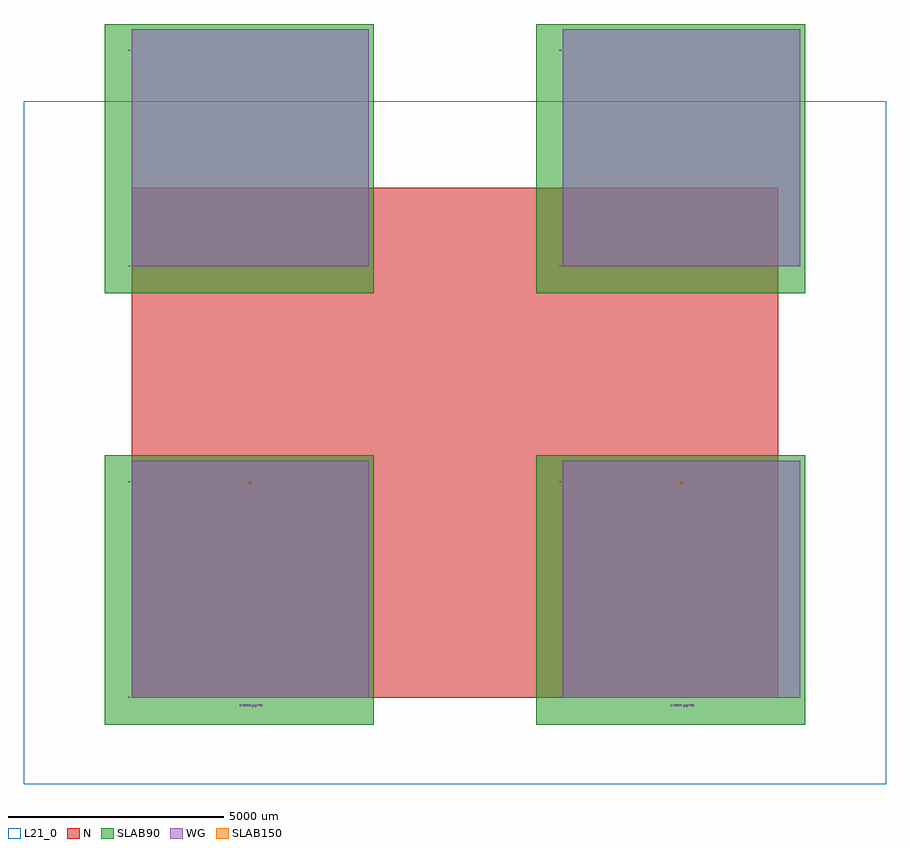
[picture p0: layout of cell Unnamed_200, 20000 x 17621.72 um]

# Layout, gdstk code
import gdstk
lib = gdstk.Library(unit=1e-6, precision=1e-09)
def R(c, l, rs):  # rectangles x0, y0, x1, y1
    for r in rs: c.add(gdstk.rectangle(r[:2], r[2:], *l))
def A(c, l, x, y, w, h, nx, ny, dx, dy):  # array of equal rectangles
    R(c, l, [(x+i*dx, y+j*dy, x+i*dx+w, y+j*dy+h) for i in range(nx) for j in range(ny)])
def P(c, l, *ps):  # polygons
    for p in ps: c.add(gdstk.Polygon(p, *l))
WG = (1, 0)
SLAB150 = (2, 0)
SLAB90 = (3, 0)
N = (20, 0)
L21_0 = (21, 0)

rectangle_s15000_11830__ = lib.new_cell('rectangle_S15000_11830__c3eba85a')
R(rectangle_s15000_11830__, N, [(0,0,15000,11830)])

rectangle_s20000_15830__ = lib.new_cell('rectangle_S20000_15830__41eada1f')
R(rectangle_s20000_15830__, L21_0, [(0,0,20000,15830)])

text_tms4_s20_p0_0_jleft = lib.new_cell('text_TMS4_S20_P0_0_Jleft_L1_0')
P(text_tms4_s20_p0_0_jleft, WG, [(22,0),(20,2),(20,4),(32,4),(32,8),(22,8),(20,10),(20,18),(22,20),(34,20),(36,18),(36,16),(24,16),(24,12),(34,12),(36,10),(36,2),(34,0)],
  [(46,0),(46,6),(38,6),(38,20),(42,20),(42,10),(46,10),(46,20),(50,20),(50,10),(52,10),(52,6),(50,6),(50,0)],
  [(2,0),(2,20),(6,20),(10,14),(14,20),(18,20),(18,0),(14,0),(14,12),(10,6),(6,12),(6,0)])

unnamed_210 = lib.new_cell('Unnamed_210')
unnamed_210.add(gdstk.Reference(text_tms4_s20_p0_0_jleft, (-80,0)))
unnamed_210.add(gdstk.Reference(text_tms4_s20_p0_0_jleft, (5020,0)))
unnamed_210.add(gdstk.Reference(text_tms4_s20_p0_0_jleft, (-80,5000)))
unnamed_210.add(gdstk.Reference(text_tms4_s20_p0_0_jleft, (5020,5000)))

text_tms3_s20_p0_0_jleft = lib.new_cell('text_TMS3_S20_P0_0_Jleft_L1_0')
P(text_tms3_s20_p0_0_jleft, WG, [(22,0),(20,2),(20,4),(32,4),(32,8),(22,8),(20,10),(20,18),(22,20),(34,20),(36,18),(36,16),(24,16),(24,12),(34,12),(36,10),(36,2),(34,0)],
  [(42,0),(38,4),(38,6),(42,6),(44,4),(46,4),(48,6),(46,8),(46,12),(48,14),(46,16),(44,16),(42,14),(38,14),(38,16),(42,20),(48,20),(52,16),(52,12),(50,10),(52,8),(52,4),(48,0)],
  [(2,0),(2,20),(6,20),(10,14),(14,20),(18,20),(18,0),(14,0),(14,12),(10,6),(6,12),(6,0)])

unnamed_209 = lib.new_cell('Unnamed_209')
unnamed_209.add(gdstk.Reference(text_tms3_s20_p0_0_jleft, (-80,0)))
unnamed_209.add(gdstk.Reference(text_tms3_s20_p0_0_jleft, (5020,0)))
unnamed_209.add(gdstk.Reference(text_tms3_s20_p0_0_jleft, (-80,5000)))
unnamed_209.add(gdstk.Reference(text_tms3_s20_p0_0_jleft, (5020,5000)))

text_tms2_s20_p0_0_jleft = lib.new_cell('text_TMS2_S20_P0_0_Jleft_L1_0')
P(text_tms2_s20_p0_0_jleft, WG, [(38,0),(38,4),(48,14),(48,16),(42,16),(42,14),(38,14),(38,18),(40,20),(50,20),(52,18),(52,12),(44,4),(52,4),(52,0)],
  [(22,0),(20,2),(20,4),(32,4),(32,8),(22,8),(20,10),(20,18),(22,20),(34,20),(36,18),(36,16),(24,16),(24,12),(34,12),(36,10),(36,2),(34,0)],
  [(2,0),(2,20),(6,20),(10,14),(14,20),(18,20),(18,0),(14,0),(14,12),(10,6),(6,12),(6,0)])

unnamed_208 = lib.new_cell('Unnamed_208')
unnamed_208.add(gdstk.Reference(text_tms2_s20_p0_0_jleft, (-80,0)))
unnamed_208.add(gdstk.Reference(text_tms2_s20_p0_0_jleft, (5020,0)))
unnamed_208.add(gdstk.Reference(text_tms2_s20_p0_0_jleft, (-80,5000)))
unnamed_208.add(gdstk.Reference(text_tms2_s20_p0_0_jleft, (5020,5000)))

text_tms1_s20_p0_0_jleft = lib.new_cell('text_TMS1_S20_P0_0_Jleft_L1_0')
P(text_tms1_s20_p0_0_jleft, WG, [(38,0),(38,4),(40,4),(40,12),(38,12),(38,16),(42,20),(44,20),(44,4),(46,4),(46,0)],
  [(22,0),(20,2),(20,4),(32,4),(32,8),(22,8),(20,10),(20,18),(22,20),(34,20),(36,18),(36,16),(24,16),(24,12),(34,12),(36,10),(36,2),(34,0)],
  [(2,0),(2,20),(6,20),(10,14),(14,20),(18,20),(18,0),(14,0),(14,12),(10,6),(6,12),(6,0)])

unnamed_207 = lib.new_cell('Unnamed_207')
unnamed_207.add(gdstk.Reference(text_tms1_s20_p0_0_jleft, (-80,0)))
unnamed_207.add(gdstk.Reference(text_tms1_s20_p0_0_jleft, (5020,0)))
unnamed_207.add(gdstk.Reference(text_tms1_s20_p0_0_jleft, (-80,5000)))
unnamed_207.add(gdstk.Reference(text_tms1_s20_p0_0_jleft, (5020,5000)))

unnamed_206 = lib.new_cell('Unnamed_206')
unnamed_206.add(gdstk.Reference(unnamed_210, (10000,10000)))
unnamed_206.add(gdstk.Reference(unnamed_209, (0,10000)))
unnamed_206.add(gdstk.Reference(unnamed_208, (10000,0)))
unnamed_206.add(gdstk.Reference(unnamed_207, (0,0)))

unnamed_216 = lib.new_cell('Unnamed_216')
R(unnamed_216, WG, [(2545,-190,2585,-180), (2910,-190,2950,-180), (12545,-190,12585,-180), (12910,-190,12950,-180), (2545,-170,2585,-160), (2910,-170,2950,-160), (12545,-170,12585,-160), (12910,-170,12950,-160)])
P(unnamed_216, WG, [(3000,-200),(2995,-195),(2995,-180),(3000,-175),(2995,-170),(2995,-155),(3000,-150),(3010,-150),(3010,-160),(3005,-160),(3005,-170),(3020,-170),(3020,-160),(3015,-160),(3015,-150),(3025,-150),(3030,-155),(3030,-170),(3025,-175),(3030,-180),(3030,-195),(3025,-200),(3015,-200),(3015,-190),(3020,-190),(3020,-180),(3005,-180),(3005,-190),(3010,-190),(3010,-200)],
  [(13000,-200),(12995,-195),(12995,-180),(13000,-175),(12995,-170),(12995,-155),(13000,-150),(13010,-150),(13010,-160),(13005,-160),(13005,-170),(13020,-170),(13020,-160),(13015,-160),(13015,-150),(13025,-150),(13030,-155),(13030,-170),(13025,-175),(13030,-180),(13030,-195),(13025,-200),(13015,-200),(13015,-190),(13020,-190),(13020,-180),(13005,-180),(13005,-190),(13010,-190),(13010,-200)],
  [(2975,-200),(2975,-185),(2955,-185),(2955,-150),(2965,-150),(2965,-175),(2975,-175),(2975,-150),(2985,-150),(2985,-175),(2990,-175),(2990,-185),(2985,-185),(2985,-200)],
  [(12975,-200),(12975,-185),(12955,-185),(12955,-150),(12965,-150),(12965,-175),(12975,-175),(12975,-150),(12985,-150),(12985,-175),(12990,-175),(12990,-185),(12985,-185),(12985,-200)],
  [(2595,-200),(2590,-195),(2590,-185),(2600,-185),(2600,-190),(2615,-190),(2615,-180),(2595,-180),(2590,-175),(2590,-150),(2625,-150),(2625,-160),(2600,-160),(2600,-170),(2620,-170),(2625,-175),(2625,-195),(2620,-200)],
  [(12595,-200),(12590,-195),(12590,-185),(12600,-185),(12600,-190),(12615,-190),(12615,-180),(12595,-180),(12590,-175),(12590,-150),(12625,-150),(12625,-160),(12600,-160),(12600,-170),(12620,-170),(12625,-175),(12625,-195),(12620,-200)],
  [(2505,-200),(2505,-150),(2515,-150),(2515,-190),(2540,-190),(2540,-200)],
  [(12505,-200),(12505,-150),(12515,-150),(12515,-190),(12540,-190),(12540,-200)],
  [(2800,-215),(2790,-205),(2815,-205),(2815,-200),(2801.7,-200),(2790,-190),(2790,-175),(2800,-165),(2825,-165),(2825,-180),(2815,-180),(2815,-175),(2805,-175),(2800,-180),(2800,-185),(2805,-190),(2815,-190),(2815,-185),(2825,-185),(2825,-210),(2820,-215)],
  [(12800,-215),(12790,-205),(12815,-205),(12815,-200),(12801.7,-200),(12790,-190),(12790,-175),(12800,-165),(12825,-165),(12825,-180),(12815,-180),(12815,-175),(12805,-175),(12800,-180),(12800,-185),(12805,-190),(12815,-190),(12815,-185),(12825,-185),(12825,-210),(12820,-215)],
  [(2840,-200),(2830,-190),(2830,-175),(2841.7,-165),(2855,-165),(2855,-161.25),(2865,-161.25),(2865,-180),(2855,-180),(2855,-175),(2845,-175),(2840,-180),(2840,-185),(2845,-190),(2855,-190),(2855,-185),(2865,-185),(2865,-200)],
  [(12840,-200),(12830,-190),(12830,-175),(12841.7,-165),(12855,-165),(12855,-161.25),(12865,-161.25),(12865,-180),(12855,-180),(12855,-175),(12845,-175),(12840,-180),(12840,-185),(12845,-190),(12855,-190),(12855,-185),(12865,-185),(12865,-200)],
  [(2648.5,-200),(2651,-190),(2655,-190),(2660,-185),(2660,-165),(2655,-160),(2657.5,-150),(2660,-150),(2670,-160),(2670,-190),(2660,-200)],
  [(2693.5,-200),(2696,-190),(2700,-190),(2705,-185),(2705,-165),(2700,-160),(2702.5,-150),(2705,-150),(2715,-160),(2715,-190),(2705,-200)],
  [(2738.5,-200),(2741,-190),(2745,-190),(2750,-185),(2750,-165),(2745,-160),(2747.5,-150),(2750,-150),(2760,-160),(2760,-190),(2750,-200)],
  [(12648.5,-200),(12651,-190),(12655,-190),(12660,-185),(12660,-165),(12655,-160),(12657.5,-150),(12660,-150),(12670,-160),(12670,-190),(12660,-200)],
  [(12693.5,-200),(12696,-190),(12700,-190),(12705,-185),(12705,-165),(12700,-160),(12702.5,-150),(12705,-150),(12715,-160),(12715,-190),(12705,-200)],
  [(12738.5,-200),(12741,-190),(12745,-190),(12750,-185),(12750,-165),(12745,-160),(12747.5,-150),(12750,-150),(12760,-160),(12760,-190),(12750,-200)],
  [(2640,-200),(2630,-190),(2630,-160),(2640,-150),(2651.5,-150),(2649,-160),(2645,-160),(2640,-165),(2640,-185),(2645,-190),(2642.5,-200)],
  [(2685,-200),(2675,-190),(2675,-160),(2685,-150),(2696.5,-150),(2694,-160),(2690,-160),(2685,-165),(2685,-185),(2690,-190),(2687.5,-200)],
  [(2730,-200),(2720,-190),(2720,-160),(2730,-150),(2741.5,-150),(2739,-160),(2735,-160),(2730,-165),(2730,-185),(2735,-190),(2732.5,-200)],
  [(12640,-200),(12630,-190),(12630,-160),(12640,-150),(12651.5,-150),(12649,-160),(12645,-160),(12640,-165),(12640,-185),(12645,-190),(12642.5,-200)],
  [(12685,-200),(12675,-190),(12675,-160),(12685,-150),(12696.5,-150),(12694,-160),(12690,-160),(12685,-165),(12685,-185),(12690,-190),(12687.5,-200)],
  [(12730,-200),(12720,-190),(12720,-160),(12730,-150),(12741.5,-150),(12739,-160),(12735,-160),(12730,-165),(12730,-185),(12735,-190),(12732.5,-200)],
  [(2870,-215),(2870,-185),(2880,-185),(2880,-190),(2890,-190),(2895,-185),(2895,-180),(2890,-175),(2880,-175),(2880,-180),(2870,-180),(2870,-165),(2895,-165),(2905,-175),(2905,-190),(2895,-200),(2880,-200),(2880,-215)],
  [(12870,-215),(12870,-185),(12880,-185),(12880,-190),(12890,-190),(12895,-185),(12895,-180),(12890,-175),(12880,-175),(12880,-180),(12870,-180),(12870,-165),(12895,-165),(12905,-175),(12905,-190),(12895,-200),(12880,-200),(12880,-215)])

unnamed_215 = lib.new_cell('Unnamed_215')
R(unnamed_215, SLAB150, [(2727,4951,2771,4997), (12727,4951,12771,4997)])

unnamed_214 = lib.new_cell('Unnamed_214')
A(unnamed_214, WG, 250, 0, 48, 48, 100, 99, 50, 50)
A(unnamed_214, WG, 10250, 0, 48, 48, 100, 99, 50, 50)
A(unnamed_214, WG, 250, 4950, 48, 48, 49, 1, 50, 0)
A(unnamed_214, WG, 2800, 4950, 48, 48, 49, 1, 50, 0)
A(unnamed_214, WG, 10250, 4950, 48, 48, 49, 1, 50, 0)
A(unnamed_214, WG, 12800, 4950, 48, 48, 49, 1, 50, 0)
R(unnamed_214, WG, [(2700,4950,2724,4998), (2774,4950,2798,4998), (12700,4950,12724,4998), (12774,4950,12798,4998)])

rectangle_s6243p44_6243_ = lib.new_cell('rectangle_S6243p44_6243_829ce156')
R(rectangle_s6243p44_6243_, SLAB90, [(0,0,6243.44,6243.44)])

unnamed_204 = lib.new_cell('Unnamed_204')
unnamed_204.add(gdstk.Reference(rectangle_s6243p44_6243_, (-621.72,-621.72)))
unnamed_204.add(gdstk.Reference(rectangle_s6243p44_6243_, (9378.28,-621.72)))
unnamed_204.add(gdstk.Reference(rectangle_s6243p44_6243_, (-621.72,9378.28)))
unnamed_204.add(gdstk.Reference(rectangle_s6243p44_6243_, (9378.28,9378.28)))

unnamed_213 = lib.new_cell('Unnamed_213')
R(unnamed_213, WG, [(0,10000,5500,15500), (10000,10000,15500,15500)])
P(unnamed_213, WG, [(0,0),(0,5500),(5500,5500),(5500,0),(5250,0),(5250,5000),(248,5000),(248,0)],
  [(10000,0),(10000,5500),(15500,5500),(15500,0),(15250,0),(15250,5000),(10248,5000),(10248,0)])

unnamed_200 = lib.new_cell('Unnamed_200')
unnamed_200.add(gdstk.Reference(rectangle_s15000_11830__, (0,0)))
unnamed_200.add(gdstk.Reference(rectangle_s20000_15830__, (-2500,-2000)))
unnamed_200.add(gdstk.Reference(unnamed_206, (0,0)))
unnamed_200.add(gdstk.Reference(unnamed_216, (0,0)))
unnamed_200.add(gdstk.Reference(unnamed_215, (0,0)))
unnamed_200.add(gdstk.Reference(unnamed_214, (0,0)))
unnamed_200.add(gdstk.Reference(unnamed_204, (0,0)))
unnamed_200.add(gdstk.Reference(unnamed_213, (0,0)))

lib.write_gds('Unnamed_200.gds')
